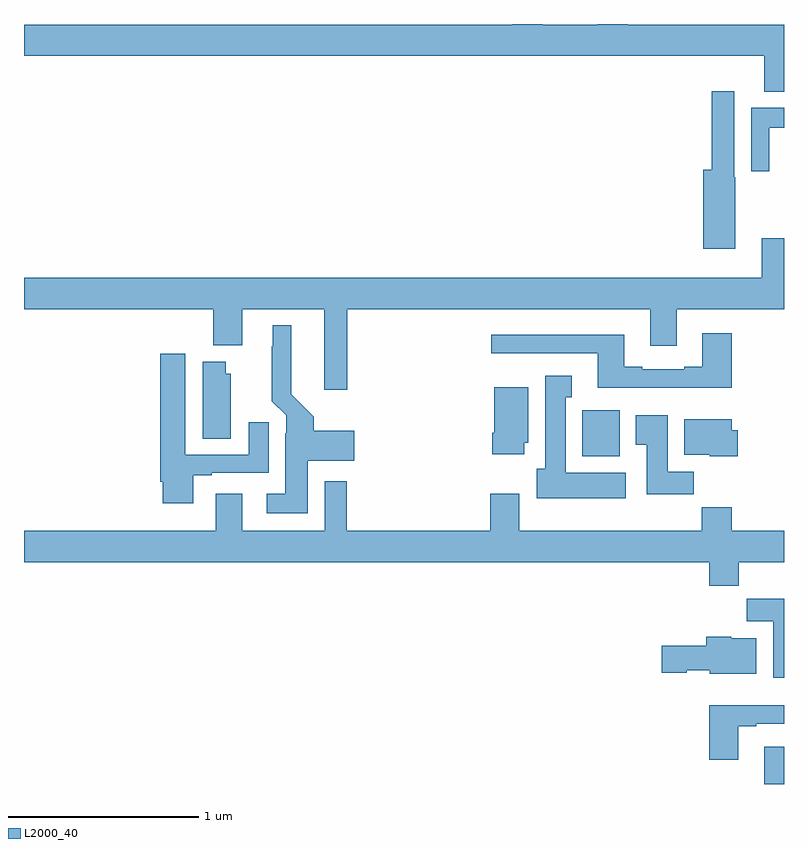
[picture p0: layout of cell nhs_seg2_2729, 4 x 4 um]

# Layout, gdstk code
import gdstk
lib = gdstk.Library(unit=1e-6, precision=1e-09)
def R(c, l, rs):  # rectangles x0, y0, x1, y1
    for r in rs: c.add(gdstk.rectangle(r[:2], r[2:], *l))
def P(c, l, *ps):  # polygons
    for p in ps: c.add(gdstk.Polygon(p, *l))
L2000_40 = (2000, 40)

nhs_seg2_2729 = lib.new_cell('nhs_seg2_2729')
R(nhs_seg2_2729, L2000_40, [(256.895,647.8,257,647.995), (255.938,649.526,256.135,649.768)])
P(nhs_seg2_2729, L2000_40, [(257,651.796),(256.178,651.796),(256.178,651.8),(256.017,651.8),(256.017,651.796),(255.729,651.796),(255.729,651.8),(255.569,651.8),(255.569,651.796),(253,651.796),(253,651.632),(256.895,651.632),(256.895,651.443),(257,651.443)],
  [(256.744,650.994),(256.737,650.994),(256.737,651.445),(256.621,651.445),(256.621,651.034),(256.574,651.034),(256.574,650.618),(256.744,650.618)],
  [(256.923,651.254),(257,651.254),(257,651.358),(256.827,651.358),(256.827,651.024),(256.923,651.024)],
  [(254.702,650.3),(256.295,650.3),(256.295,650.106),(256.435,650.106),(256.435,650.3),(257,650.3),(257,650.673),(256.883,650.673),(256.883,650.464),(253,650.464),(253,650.3),(253.997,650.3),(253.997,650.108),(254.149,650.108),(254.149,650.3),(254.579,650.3),(254.579,649.875),(254.702,649.875)],
  [(254.494,649.502),(254.737,649.502),(254.737,649.66),(254.525,649.66),(254.525,649.734),(254.407,649.852),(254.407,650.215),(254.309,650.215),(254.309,650.105),(254.305,650.105),(254.305,649.814),(254.379,649.74),(254.379,649.646),(254.375,649.646),(254.375,649.327),(254.277,649.327),(254.277,649.226),(254.494,649.226)],
  [(256.724,650.173),(256.571,650.173),(256.571,649.996),(256.475,649.996),(256.475,649.983),(256.255,649.983),(256.255,649.996),(256.159,649.996),(256.159,650.164),(255.459,650.164),(255.459,650.067),(256.019,650.067),(256.019,649.886),(256.724,649.886)],
  [(253.891,649.425),(253.987,649.425),(253.987,649.437),(254.287,649.437),(254.287,649.705),(254.183,649.705),(254.183,649.533),(253.849,649.533),(253.849,650.065),(253.718,650.065),(253.718,649.39),(253.73,649.39),(253.73,649.278),(253.891,649.278)],
  [(254.089,649.959),(254.062,649.959),(254.062,650.023),(253.94,650.023),(253.94,649.618),(254.089,649.618)],
  [(256.168,649.438),(255.85,649.438),(255.85,649.835),(255.883,649.835),(255.883,649.948),(255.743,649.948),(255.743,649.458),(255.698,649.458),(255.698,649.304),(256.168,649.304)],
  [(255.634,649.596),(255.655,649.596),(255.655,649.888),(255.476,649.888),(255.476,649.648),(255.464,649.648),(255.464,649.536),(255.634,649.536)],
  [(256.526,649.444),(256.387,649.444),(256.387,649.741),(256.22,649.741),(256.22,649.585),(256.277,649.585),(256.277,649.326),(256.526,649.326)],
  [(256.757,649.662),(256.726,649.662),(256.726,649.72),(256.475,649.72),(256.475,649.532),(256.608,649.532),(256.608,649.526),(256.757,649.526)],
  [(256.763,648.968),(257,648.968),(257,649.132),(256.724,649.132),(256.724,649.256),(256.567,649.256),(256.567,649.132),(255.607,649.132),(255.607,649.327),(255.455,649.327),(255.455,649.132),(254.699,649.132),(254.699,649.393),(254.583,649.393),(254.583,649.132),(254.149,649.132),(254.149,649.327),(254.009,649.327),(254.009,649.132),(253,649.132),(253,648.968),(256.607,648.968),(256.607,648.844),(256.763,648.844)],
  [(257,648.775),(256.804,648.775),(256.804,648.656),(256.943,648.656),(256.943,648.36),(257,648.36)],
  [(256.855,648.568),(256.722,648.568),(256.722,648.574),(256.592,648.574),(256.592,648.528),(256.356,648.528),(256.356,648.386),(256.488,648.386),(256.488,648.398),(256.608,648.398),(256.608,648.38),(256.855,648.38)],
  [(256.759,648.105),(256.855,648.105),(256.855,648.117),(257,648.117),(257,648.214),(256.607,648.214),(256.607,647.928),(256.759,647.928)])

lib.write_gds('nhs_seg2_2729.gds')
